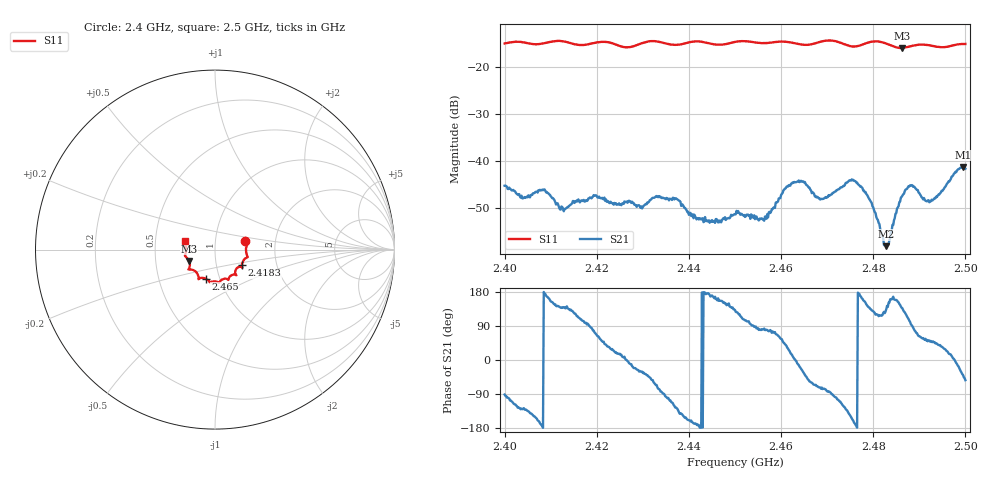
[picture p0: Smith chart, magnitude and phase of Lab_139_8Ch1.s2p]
# Hz S RI R 50
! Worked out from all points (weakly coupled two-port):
!   601 points, 2.4 GHz to 2.5 GHz, reference 50 ohm
!   highest |S21| = -41.29 dB at 2.4995 GHz (marker M1); lowest = -58.1 dB at 2.4828 GHz (marker M2)
!   lowest |S11| = -16.1 dB at 2.4862 GHz (marker M3), VSWR 1.37, Z = 37.1 - j4.8 ohm
!   |S11| at or under -10 dB: start of sweep to end of sweep
!   S12 and S22 are empty: the file has one direction only
!   S11 on the Smith chart (normalised r, x): 2.4 GHz: 1.40, +0.13; 2.4183 GHz: 1.33, -0.24; 2.465 GHz: 0.86, -0.29; 2.5 GHz: 0.71, +0.07
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2.4e9  0.1694 0.0458  -0.000117 -0.00545  0 0  0 0
2.408667e9  0.1757 -0.0237  -0.00497 0.000411  0 0  0 0
2.4125e9  0.181 -0.0427  -0.00245 0.00212  0 0  0 0
2.416667e9  0.1547 -0.0679  -0.00111 0.00366  0 0  0 0
2.418333e9  0.1499 -0.087  -3.77e-05 0.00401  0 0  0 0
2.433333e9  0.1175 -0.141  0.00101 -0.004  0 0  0 0
2.443667e9  0.0703 -0.1651  -0.00229 0.000255  0 0  0 0
2.45e9  0.025 -0.1807  -0.00181 0.00202  0 0  0 0
2.456333e9  -0.00338 -0.1771  0.000289 0.00231  0 0  0 0
2.461167e9  -0.0303 -0.1803  0.00424 0.00322  0 0  0 0
2.465e9  -0.0525 -0.1617  0.00476 -0.00348  0 0  0 0
2.466667e9  -0.0713 -0.1572  0.00228 -0.00394  0 0  0 0
2.469e9  -0.0899 -0.1624  0.000915 -0.00384  0 0  0 0
2.476e9  -0.11 -0.1201  -0.00597 -0.00131  0 0  0 0
2.479167e9  -0.1435 -0.1109  -0.00293 0.00261  0 0  0 0
2.482833e9  -0.1428 -0.1012  -0.00087 0.000895  0 0  0 0
2.483333e9  -0.1415 -0.0964  -0.00114 0.000621  0 0  0 0
2.486167e9  -0.144 -0.063  -0.00309 0.00279  0 0  0 0
2.488333e9  -0.159 -0.0443  -0.000195 0.00553  0 0  0 0
2.492667e9  -0.1647 -0.0229  0.00258 0.00289  0 0  0 0
2.4995e9  -0.1678 0.0446  0.00661 -0.00553  0 0  0 0
2.5e9  -0.1672 0.0467  0.00495 -0.00662  0 0  0 0
